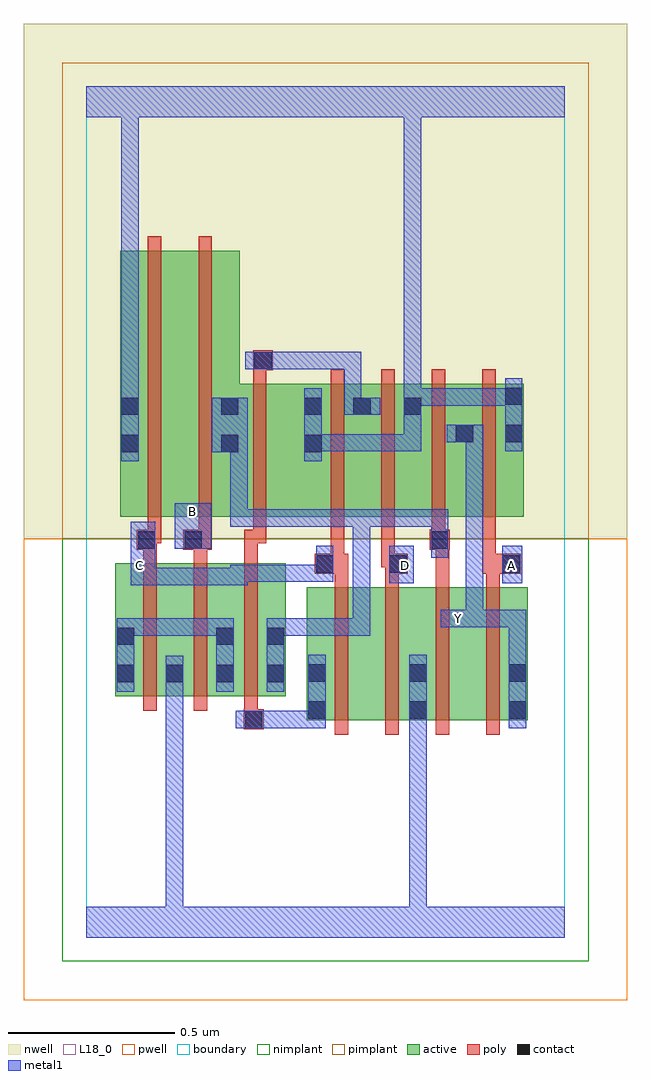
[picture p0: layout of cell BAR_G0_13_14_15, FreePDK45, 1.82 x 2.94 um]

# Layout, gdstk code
import gdstk
lib = gdstk.Library(unit=1e-6, precision=1e-09)
def R(c, l, rs):  # rectangles x0, y0, x1, y1
    for r in rs: c.add(gdstk.rectangle(r[:2], r[2:], *l))
def A(c, l, x, y, w, h, nx, ny, dx, dy):  # array of equal rectangles
    R(c, l, [(x+i*dx, y+j*dy, x+i*dx+w, y+j*dy+h) for i in range(nx) for j in range(ny)])
active = (1, 0)
pwell = (2, 0)
nwell = (3, 0)
nimplant = (4, 0)
pimplant = (5, 0)
poly = (9, 0)
contact = (10, 0)
metal1 = (11, 0)
L18_0 = (18, 0)
boundary = (235, 0)

bar_g0_13_14_15 = lib.new_cell('BAR_G0_13_14_15')
R(bar_g0_13_14_15, active, [(0.664,0.654,0.724,1.054), (0.664,0.654,0.844,1.054), (0.844,0.654,1.028,1.054), (0.968,0.654,1.148,1.054), (0.968,0.654,1.028,0.928), (1.148,0.654,1.328,1.054), (1.268,0.654,1.328,1.054), (0.088,0.726,0.148,1.126), (0.088,0.726,0.296,1.126), (0.236,0.726,0.448,1.126), (0.236,0.726,0.296,0.928), (0.388,0.726,0.6,1.126), (0.388,0.756,0.448,1.062), (0.54,0.756,0.6,1.126), (0.102,1.266,0.282,2.066), (0.102,1.266,0.162,2.044), (0.282,1.266,0.462,2.066), (0.402,1.266,0.712,1.666), (0.652,1.266,0.86,1.666), (0.8,1.266,1.012,1.666), (0.952,1.266,1.168,1.666), (1.108,1.266,1.316,1.666), (1.256,1.266,1.316,1.666), (0.402,1.336,0.462,1.746), (0.652,1.352,0.712,1.644), (0.8,1.352,0.86,1.666), (0.952,1.352,1.012,1.666), (1.108,1.352,1.168,1.644)])
R(bar_g0_13_14_15, pwell, [(-0.188,-0.188,1.628,1.2)])
R(bar_g0_13_14_15, nwell, [(-0.188,1.2,1.628,2.748)])
R(bar_g0_13_14_15, nimplant, [(-0.072,-0.072,1.512,1.2)])
R(bar_g0_13_14_15, pimplant, [(-0.072,1.2,1.512,2.632)])
A(bar_g0_13_14_15, poly, 0.748, 0.61, 0.04, 0.488, 4, 1, 0.152, 0)
A(bar_g0_13_14_15, poly, 0.172, 0.682, 0.04, 0.488, 3, 1, 0.152, 0)
A(bar_g0_13_14_15, poly, 0.736, 1.222, 0.04, 0.488, 4, 1, 0.152, 0)
R(bar_g0_13_14_15, poly, [(0.474,0.626,0.534,0.686), (0.476,0.646,0.516,0.722), (0.748,1.058,0.788,1.134), (0.9,1.058,0.94,1.134), (1.052,1.058,1.092,1.206), (1.204,1.058,1.244,1.134), (0.688,1.094,0.788,1.154), (0.9,1.094,0.968,1.154), (1.192,1.094,1.308,1.154), (1.204,1.094,1.244,1.134), (1.204,1.094,1.244,1.134), (0.736,1.114,0.776,1.262), (0.736,1.114,0.776,1.154), (0.736,1.114,0.776,1.154), (0.888,1.114,0.928,1.262), (0.888,1.114,0.94,1.154), (0.9,1.114,0.94,1.154), (1.192,1.114,1.232,1.262), (0.172,1.13,0.212,1.206), (0.324,1.13,0.364,1.206), (0.476,1.13,0.516,1.226), (0.152,1.166,0.212,1.226), (0.292,1.166,0.378,1.226), (0.324,1.166,0.364,1.206), (0.324,1.166,0.364,1.206), (1.034,1.166,1.094,1.226), (1.052,1.166,1.092,1.206), (1.052,1.166,1.092,1.206), (0.172,1.186,0.212,1.226), (0.172,1.186,0.226,1.226), (0.186,1.186,0.226,1.262), (0.338,1.186,0.378,1.262), (0.476,1.186,0.53,1.226), (0.49,1.186,0.53,1.226), (0.49,1.186,0.542,1.226), (0.502,1.186,0.542,1.262), (1.04,1.186,1.08,1.262), (0.186,1.222,0.226,2.11), (0.338,1.222,0.378,2.11), (0.502,1.222,0.542,1.71), (0.502,1.67,0.542,1.746), (0.502,1.706,0.562,1.766)])
A(bar_g0_13_14_15, contact, 0.24, 0.768, 0.052, 0.052, 3, 1, 0.152, 0)
R(bar_g0_13_14_15, contact, [(0.478,0.63,0.53,0.682), (0.668,0.658,0.72,0.71), (0.972,0.658,1.024,0.71), (1.272,0.658,1.324,0.71), (0.092,0.768,0.144,0.82), (0.668,0.77,0.72,0.822), (0.972,0.77,1.024,0.822), (1.272,0.77,1.324,0.822), (0.092,0.88,0.144,0.932), (0.392,0.88,0.444,0.932), (0.544,0.88,0.596,0.932), (0.692,1.098,0.744,1.15), (0.912,1.098,0.964,1.15), (1.252,1.098,1.304,1.15), (0.156,1.17,0.208,1.222), (0.296,1.17,0.348,1.222), (1.038,1.17,1.09,1.222), (0.106,1.46,0.158,1.512), (0.406,1.46,0.458,1.512), (0.656,1.46,0.708,1.512), (1.112,1.49,1.164,1.542), (1.26,1.49,1.312,1.542), (0.106,1.572,0.158,1.624), (0.406,1.572,0.458,1.624), (0.656,1.572,0.708,1.624), (0.804,1.572,0.856,1.624), (0.956,1.572,1.008,1.624), (1.26,1.602,1.312,1.654), (0.506,1.71,0.558,1.762)])
R(bar_g0_13_14_15, metal1, [(0,0,1.44,0.092), (0.24,0.04,0.292,0.092), (0.24,0.04,0.292,0.092), (0.24,0.04,0.292,0.092), (0.24,0.04,0.292,0.092), (0.24,0.04,0.292,0.092), (0.24,0.04,0.292,0.092), (0.24,0.04,0.292,0.092), (0.24,0.04,0.292,0.092), (0.24,0.04,0.292,0.092), (0.24,0.04,0.292,0.092), (0.24,0.04,0.292,0.792), (0.972,0.04,1.024,0.682), (0.45,0.63,0.558,0.682), (0.506,0.63,0.598,0.682), (0.546,0.63,0.598,0.682), (0.546,0.63,0.72,0.682), (0.668,0.63,0.72,0.682), (0.668,0.63,0.72,0.682), (0.668,0.63,0.72,0.85), (0.972,0.63,1.024,0.682), (0.972,0.63,1.024,0.682), (0.972,0.63,1.024,0.682), (0.972,0.63,1.024,0.682), (0.972,0.63,1.024,0.682), (0.972,0.63,1.024,0.682), (0.972,0.63,1.024,0.682), (0.972,0.63,1.024,0.682), (0.972,0.63,1.024,0.682), (0.972,0.63,1.024,0.682), (0.972,0.63,1.024,0.682), (0.972,0.63,1.024,0.682), (0.972,0.63,1.024,0.85), (1.272,0.63,1.324,0.85), (0.092,0.74,0.144,0.96), (0.24,0.74,0.292,0.792), (0.24,0.74,0.292,0.792), (0.24,0.74,0.292,0.848), (0.392,0.74,0.444,0.96), (0.544,0.74,0.596,0.96), (1.272,0.798,1.324,0.986), (0.092,0.908,0.144,0.96), (0.092,0.908,0.144,0.96), (0.092,0.908,0.32,0.96), (0.268,0.908,0.32,0.96), (0.268,0.908,0.32,0.96), (0.268,0.908,0.32,0.96), (0.268,0.908,0.444,0.96), (0.544,0.908,0.696,0.96), (0.644,0.908,0.696,0.96), (0.644,0.908,0.708,0.96), (0.656,0.908,0.708,0.96), (0.656,0.908,0.854,0.96), (0.802,0.908,0.854,0.96), (0.802,0.908,0.854,0.96), (0.802,0.908,0.854,0.96), (0.802,0.908,0.854,1.288), (1.066,0.934,1.194,0.986), (1.142,0.934,1.194,0.986), (1.142,0.934,1.194,0.986), (1.142,0.934,1.324,0.986), (1.142,0.934,1.194,1.542), (1.272,0.934,1.324,0.986), (1.272,0.934,1.324,0.986), (1.272,0.934,1.324,0.986), (0.134,1.06,0.208,1.25), (0.156,1.06,0.32,1.112), (0.268,1.06,0.32,1.112), (0.268,1.06,0.32,1.112), (0.268,1.06,0.32,1.112), (0.268,1.06,0.486,1.112), (0.434,1.06,0.486,1.112), (0.434,1.06,0.486,1.112), (0.434,1.06,0.486,1.122), (0.912,1.066,0.986,1.178), (1.252,1.066,1.312,1.178), (0.434,1.07,0.598,1.122), (0.546,1.07,0.598,1.122), (0.546,1.07,0.696,1.122), (0.644,1.07,0.696,1.122), (0.644,1.07,0.744,1.122), (0.692,1.07,0.744,1.178), (1.038,1.142,1.09,1.288), (0.266,1.17,0.376,1.306), (0.434,1.236,0.486,1.288), (0.434,1.236,0.486,1.288), (0.434,1.236,0.486,1.288), (0.434,1.236,0.596,1.288), (0.434,1.236,0.486,1.512), (0.544,1.236,0.596,1.288), (0.544,1.236,0.708,1.288), (0.656,1.236,0.708,1.288), (0.656,1.236,0.854,1.288), (0.802,1.236,0.854,1.288), (0.802,1.236,0.854,1.288), (0.802,1.236,0.854,1.288), (0.802,1.236,0.964,1.288), (0.912,1.236,0.964,1.288), (0.912,1.236,0.964,1.288), (0.912,1.236,0.964,1.288), (0.912,1.236,1.09,1.288), (0.106,1.432,0.158,1.652), (0.656,1.432,0.708,1.652), (0.378,1.46,0.486,1.624), (0.656,1.462,0.708,1.514), (0.656,1.462,0.708,1.514), (0.656,1.462,0.818,1.514), (0.766,1.462,0.818,1.514), (0.766,1.462,0.964,1.514), (0.912,1.462,0.964,1.514), (0.912,1.462,1.008,1.514), (0.956,1.462,1.008,1.514), (0.956,1.462,1.008,1.514), (0.956,1.462,1.008,1.514), (0.956,1.462,1.008,1.514), (0.956,1.462,1.008,1.514), (0.956,1.462,1.008,1.596), (1.26,1.462,1.312,1.682), (1.084,1.49,1.194,1.542), (0.956,1.544,1.008,1.652), (0.776,1.572,0.828,1.762), (0.776,1.572,0.884,1.624), (0.106,1.6,0.158,2.52), (0.956,1.6,1.008,1.652), (0.956,1.6,1.008,1.652), (0.956,1.6,1.008,1.652), (0.956,1.6,1.008,1.652), (0.956,1.6,1.008,1.652), (0.956,1.6,1.008,1.652), (0.956,1.6,1.008,1.652), (0.956,1.6,1.008,1.652), (0.956,1.6,1.008,1.652), (0.956,1.6,1.008,1.652), (0.956,1.6,1.194,1.652), (0.956,1.6,1.008,2.52), (1.142,1.6,1.194,1.652), (1.142,1.6,1.194,1.652), (1.142,1.6,1.194,1.652), (1.142,1.6,1.312,1.652), (1.26,1.6,1.312,1.652), (1.26,1.6,1.312,1.652), (0.478,1.71,0.586,1.762), (0.534,1.71,0.598,1.762), (0.546,1.71,0.598,1.762), (0.546,1.71,0.708,1.762), (0.656,1.71,0.708,1.762), (0.656,1.71,0.828,1.762), (0.776,1.71,0.828,1.762), (0.776,1.71,0.828,1.762), (0.776,1.71,0.828,1.762), (0,2.468,1.44,2.56), (0.106,2.468,0.158,2.52), (0.106,2.468,0.158,2.52), (0.106,2.468,0.158,2.52), (0.106,2.468,0.158,2.52), (0.106,2.468,0.158,2.52), (0.106,2.468,0.158,2.52), (0.106,2.468,0.158,2.52), (0.106,2.468,0.158,2.52), (0.956,2.468,1.008,2.52), (0.956,2.468,1.008,2.52), (0.956,2.468,1.008,2.52), (0.956,2.468,1.008,2.52), (0.956,2.468,1.008,2.52), (0.956,2.468,1.008,2.52)])
R(bar_g0_13_14_15, L18_0, [(0,0,1.44,0.092), (0.24,0.04,0.292,0.092), (0.24,0.04,0.292,0.092), (0.24,0.04,0.292,0.092), (0.24,0.04,0.292,0.092), (0.24,0.04,0.292,0.092), (0.24,0.04,0.292,0.092), (0.24,0.04,0.292,0.092), (0.24,0.04,0.292,0.092), (0.24,0.04,0.292,0.092), (0.24,0.04,0.292,0.092), (0.24,0.04,0.292,0.792), (0.972,0.04,1.024,0.682), (0.972,0.63,1.024,0.85), (0.972,0.63,1.024,0.682), (0.972,0.63,1.024,0.682), (0.972,0.63,1.024,0.682), (0.972,0.63,1.024,0.682), (0.972,0.63,1.024,0.682), (0.972,0.63,1.024,0.682), (0.972,0.63,1.024,0.682), (0.972,0.63,1.024,0.682), (0.972,0.63,1.024,0.682), (0.972,0.63,1.024,0.682), (0.972,0.63,1.024,0.682), (0.972,0.63,1.024,0.682), (1.272,0.63,1.324,0.85), (0.24,0.74,0.292,0.792), (0.24,0.74,0.292,0.792), (0.24,0.74,0.292,0.848), (1.272,0.798,1.324,0.986), (1.066,0.934,1.194,0.986), (1.094,0.934,1.146,0.986), (1.142,0.934,1.194,0.986), (1.142,0.934,1.194,0.986), (1.142,0.934,1.194,1.542), (1.142,0.934,1.324,0.986), (1.272,0.934,1.324,0.986), (1.272,0.934,1.324,0.986), (1.272,0.934,1.324,0.986), (0.134,1.06,0.208,1.25), (0.156,1.06,0.32,1.112), (0.268,1.06,0.32,1.112), (0.268,1.06,0.32,1.112), (0.268,1.06,0.32,1.112), (0.268,1.06,0.486,1.112), (0.434,1.06,0.486,1.112), (0.434,1.06,0.486,1.112), (0.434,1.06,0.486,1.122), (0.912,1.066,0.986,1.178), (1.252,1.066,1.312,1.178), (0.434,1.07,0.598,1.122), (0.546,1.07,0.598,1.122), (0.546,1.07,0.696,1.122), (0.644,1.07,0.696,1.122), (0.644,1.07,0.744,1.122), (0.692,1.07,0.744,1.178), (0.134,1.094,0.186,1.146), (0.934,1.094,0.986,1.146), (1.254,1.094,1.306,1.146), (0.266,1.17,0.376,1.306), (0.294,1.254,0.346,1.306), (0.106,1.432,0.158,1.652), (0.656,1.432,0.708,1.652), (0.656,1.462,0.708,1.514), (0.656,1.462,0.708,1.514), (0.656,1.462,0.818,1.514), (0.766,1.462,0.818,1.514), (0.766,1.462,0.964,1.514), (0.912,1.462,0.964,1.514), (0.912,1.462,1.008,1.514), (0.956,1.462,1.008,1.514), (0.956,1.462,1.008,1.514), (0.956,1.462,1.008,1.514), (0.956,1.462,1.008,1.514), (0.956,1.462,1.008,1.514), (0.956,1.462,1.008,1.596), (1.26,1.462,1.312,1.682), (1.084,1.49,1.194,1.542), (0.956,1.544,1.008,1.652), (0.106,1.6,0.158,2.52), (0.956,1.6,1.008,1.652), (0.956,1.6,1.008,1.652), (0.956,1.6,1.008,1.652), (0.956,1.6,1.008,1.652), (0.956,1.6,1.008,1.652), (0.956,1.6,1.008,1.652), (0.956,1.6,1.008,1.652), (0.956,1.6,1.008,1.652), (0.956,1.6,1.008,1.652), (0.956,1.6,1.008,1.652), (0.956,1.6,1.008,2.52), (0.956,1.6,1.194,1.652), (1.142,1.6,1.194,1.652), (1.142,1.6,1.194,1.652), (1.142,1.6,1.194,1.652), (1.142,1.6,1.312,1.652), (1.26,1.6,1.312,1.652), (1.26,1.6,1.312,1.652), (0,2.468,1.44,2.56), (0.106,2.468,0.158,2.52), (0.106,2.468,0.158,2.52), (0.106,2.468,0.158,2.52), (0.106,2.468,0.158,2.52), (0.106,2.468,0.158,2.52), (0.106,2.468,0.158,2.52), (0.106,2.468,0.158,2.52), (0.106,2.468,0.158,2.52), (0.956,2.468,1.008,2.52), (0.956,2.468,1.008,2.52), (0.956,2.468,1.008,2.52), (0.956,2.468,1.008,2.52), (0.956,2.468,1.008,2.52), (0.956,2.468,1.008,2.52)])
R(bar_g0_13_14_15, boundary, [(0,0,1.44,2.56)])
bar_g0_13_14_15.add(gdstk.Label('A', (1.28,1.12), layer=11, texttype=0))
bar_g0_13_14_15.add(gdstk.Label('B', (0.32,1.28), layer=11, texttype=0))
bar_g0_13_14_15.add(gdstk.Label('C', (0.16,1.12), layer=11, texttype=0))
bar_g0_13_14_15.add(gdstk.Label('D', (0.96,1.12), layer=11, texttype=0))
bar_g0_13_14_15.add(gdstk.Label('Y', (1.12,0.96), layer=11, texttype=0))

lib.write_gds('BAR_G0_13_14_15.gds')
